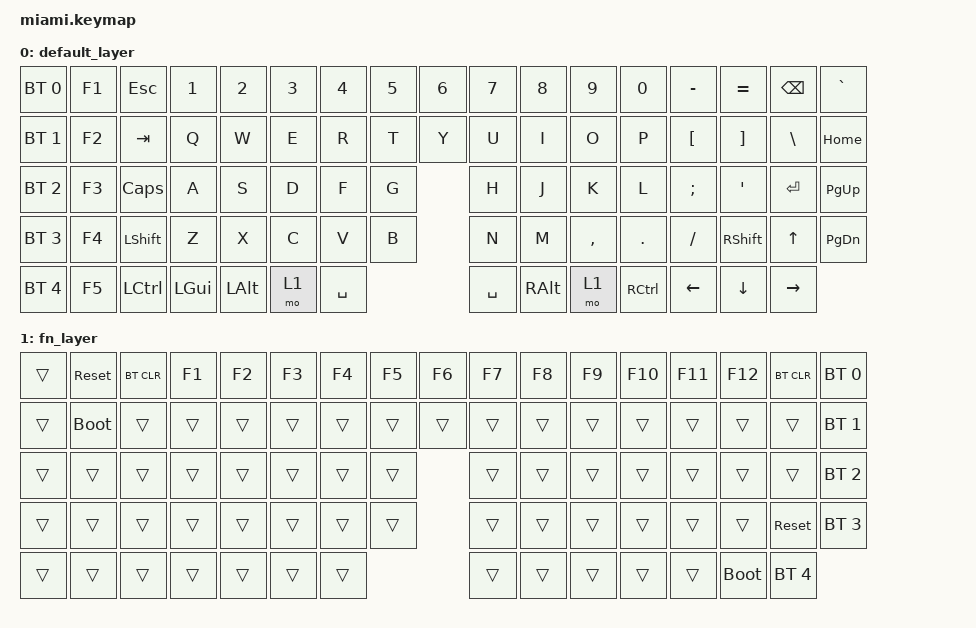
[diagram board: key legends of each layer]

#include <behaviors.dtsi>
#include <dt-bindings/zmk/bt.h>
#include <dt-bindings/zmk/keys.h>

/ {
    keymap {
        compatible = "zmk,keymap";

// ----------------------------------------------      -----------------------------------------------------
// |F1  |  FN  | ESC  |  1   |  2  |  3   |  4  |  5  |  6  |      |  7  |  8  |  9  |  0  |  -  |  =  |  BKSPC |  `   |
// |F3  |  F4  | TAB   |  Q   |  W  |  E   |  R  |  T  |        |  Y  |  U  |  I  |  O  |  P  |  [  |  ]  |  \  | DEL  |
// |F5  |  F6  | CAPSLCK  |  A   |  S  |  D   |  F  |  G  |        |  H  |  J  |  K  |  L  |  ;  |  '  |   ENTER  | PGUP |
// |F7  |  F8  | SHIFT   |  Z   |  X  |  C  |  V   |  B  |        |  N  |  M  |  ,  |  .  |  /  |  RSHFT  |  UP | PGDN |
// |F9  |  F10 | LCTRL   | LGUI | LALT | FN  |     SPACE   |        |    SPACE    | RALT | FN | RCTRL | LFT | DWN | RGHT |
// -------------------------------------------        ------------------------------------------------------

        default_layer {
            bindings = <
    &bt BT_SEL 0  &kp F1  &kp ESC   &kp N1   &kp N2   &kp N3    &kp N4 &kp N5 &kp N6 /**/ &kp N7    &kp N8   &kp N9    &kp N0    &kp MINUS &kp EQUAL &kp BSPC &kp GRAVE
    &bt BT_SEL 1  &kp F2  &kp TAB   &kp Q    &kp W    &kp E     &kp R  &kp T         /**/ &kp Y     &kp U    &kp I     &kp O     &kp P     &kp LBKT  &kp RBKT &kp BSLH &kp HOME
    &bt BT_SEL 2  &kp F3  &kp CAPS  &kp A    &kp S    &kp D     &kp F  &kp G         /**/ &kp H     &kp J    &kp K     &kp L     &kp SEMI  &kp SQT   &kp RET  &kp PG_UP
    &bt BT_SEL 3  &kp F4  &kp LSHFT &kp Z    &kp X    &kp C     &kp V  &kp B         /**/ &kp N     &kp M    &kp COMMA &kp DOT   &kp FSLH  &kp RSHFT &kp UP   &kp PG_DN
    &bt BT_SEL 4  &kp F5  &kp LCTRL &kp LGUI &kp LALT &mo 1     &kp SPACE            /**/ &kp SPACE &kp RALT &mo 1     &kp RCTRL &kp LEFT  &kp DOWN  &kp RIGHT
            >;
        };

// ----------------------------------------------     -----------------------------------------------------
// |BT_CLR|  F1  |  F2 |  F3  |  F4 |  F5 |  F6 |     |  F7 |  F8 |  F9 | F10 | F11 | F12 |        |BT_CLR|
// |       | BT-0 | BT-1| BT-2 |     |     |       |     |     |     |     |     |     |     |     |      |
// |        |      |     |      |     |     |       |     |     |     |     |     |     |          |      |
// |         |      |     |     |      |     |       |     |     |     |     |     |         |     |      |
// |         |      |      |           |     |       |             |      |    |       |     |     |      |
// -------------------------------------------       ------------------------------------------------------

        fn_layer {
            bindings = <
    &trans     &sys_reset       &bt BT_CLR &kp F1       &kp F2       &kp F3       &kp F4 &kp F5 &kp F6    /**/ &kp F7 &kp F8 &kp F9 &kp F10 &kp F11 &kp F12 &bt BT_CLR    &bt BT_SEL 0
    &trans     &bootloader       &trans     &trans       &trans       &trans       &trans   &trans        /**/ &trans &trans &trans &trans  &trans  &trans  &trans &trans &bt BT_SEL 1
    &trans     &trans       &trans     &trans       &trans       &trans       &trans   &trans             /**/ &trans &trans &trans &trans  &trans  &trans  &trans        &bt BT_SEL 2
    &trans     &trans       &trans     &trans       &trans       &trans       &trans   &trans             /**/ &trans &trans &trans &trans  &trans  &trans  &sys_reset    &bt BT_SEL 3
    &trans     &trans       &trans     &trans       &trans       &trans       &trans                      /**/ &trans &trans &trans &trans  &trans          &bootloader   &bt BT_SEL 4
            >;
        };
    };
};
